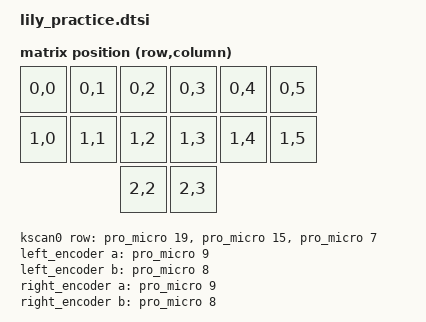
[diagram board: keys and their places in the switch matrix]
/*
 * Copyright (c) 2022 The ZMK Contributors
 *
 * SPDX-License-Identifier: MIT
 */

include <dt-bindings/zmk/matrix_transform.h> // Put this with the other includes at the top of your dtsi

/ {
    default_transform: keymap_transform0 {
        compatible = "zmk,matrix-transform";
        columns = <6>;
        rows = <3>;
        map = <
        //  LKey 1 |LKey 2 |LKey 3      RKey 1 |RKey 2 |RKey 3
        //  LKey 4 |LKey 5 |LKey 6      RKey 4 |RKey 5 |RKey 6
        //                 |LKey 7      RKey 7

            RC(0,0) RC(0,1) RC(0,2)     RC(0,3) RC(0,4) RC(0,5)
            RC(1,0) RC(1,1) RC(1,2)     RC(1,3) RC(1,4) RC(1,5)
                            RC(2,2)     RC(2,3)
        >;
    };
};

/ {
    kscan0: kscan0 {
        compatible = "zmk,kscan-gpio-matrix";

        // Diodes point from columns to rows (cathodes are connected to rows)
        diode-direction = "col2row";
        wakeup-source;

        row-gpios
            = <&pro_micro 19 (GPIO_ACTIVE_HIGH | GPIO_PULL_DOWN)>
            , <&pro_micro 15 (GPIO_ACTIVE_HIGH | GPIO_PULL_DOWN)>
            , <&pro_micro 7 (GPIO_ACTIVE_HIGH | GPIO_PULL_DOWN)>
            ;

    };
};

/ {
    physical_layout0: physical_layout_0 { // First physical layout, use different naming for other layouts
        compatible = "zmk,physical-layout";
        display-name = "Default Layout";
        kscan = <&kscan0>; // Label of the kscan node, optional if all layouts use the same
        transform = <&default_transform>; // Label of the matrix transform for this layout
    };
};

/ {
    chosen {
        zmk,physical-layout = &physical_layout0;
        zephyr,display = &oled;
        // Other chosen items
    };

    left_encoder: left_encoder {
        compatible = "alps,ec11";
        steps = <80>;
        status = "okay";
    
        a-gpios = <&pro_micro 9 GPIO_PULL_UP>;
        b-gpios = <&pro_micro 8 GPIO_PULL_UP>;
    };
    
    right_encoder: right_encoder {
        compatible = "alps,ec11";
        steps = <80>;
        status = "disabled";
    
        a-gpios = <&pro_micro 9 GPIO_PULL_UP>;
        b-gpios = <&pro_micro 8 GPIO_PULL_UP>;
    };
    
    sensors: sensors {
        compatible = "zmk,keymap-sensors";
        sensors = <&left_encoder &right_encoder>;
        triggers-per-rotation = <20>;
    };
};


&pro_micro_i2c {
    status = "okay";

    oled: ssd1306@3c {
        compatible = "solomon,ssd1306fb";
        reg = <0x3c>;
        width = <128>;
        height = <32>;
        segment-offset = <0>;
        page-offset = <0>;
        display-offset = <0>;
        multiplex-ratio = <31>;
        segment-remap;
        com-invdir;
        com-sequential;
        inversion-on;
        prechargep = <0x22>;
    };
};
